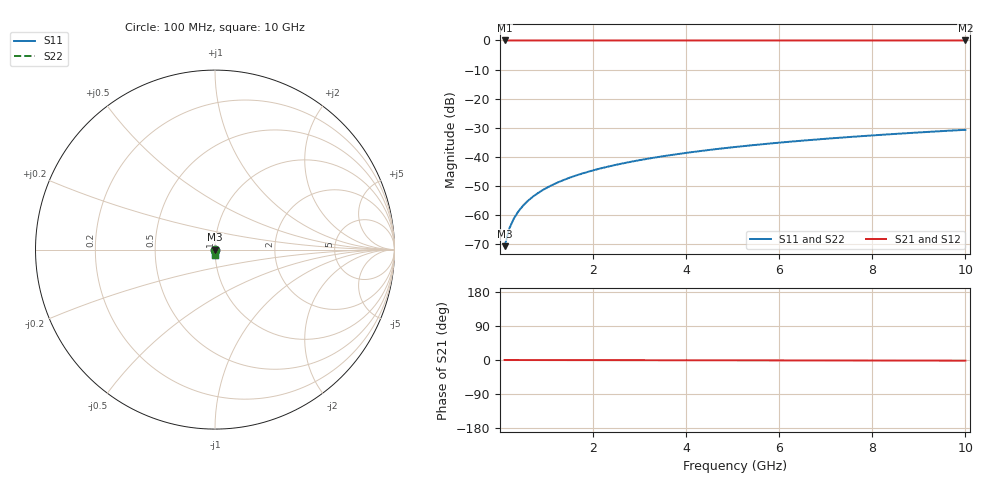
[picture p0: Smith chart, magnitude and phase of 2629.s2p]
# Hz S RI R 50.00
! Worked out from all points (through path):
!   100 points, 100 MHz to 10 GHz, reference 50 ohm
!   highest |S21| = 0.00 dB at 100 MHz (marker M1); lowest = 0.0 dB at 10 GHz (marker M2)
!   lowest |S11| = -70.6 dB at 100 MHz (marker M3), VSWR 1.00, Z = 50 - j0.0294 ohm
!   |S11| at or under -10 dB: start of sweep to end of sweep
!   |S22| runs from -70.6 to -30.7 dB; largest |S21 - S12| = 0
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1e8  -1.25e-07 -0.000294  1 -0.000299  1 -0.000299  -1.25e-07 -0.000294
2e8  -6.76e-07 -0.000588  1 -0.000598  1 -0.000598  -6.76e-07 -0.000588
3e8  -1.4e-06 -0.000882  1 -0.000896  1 -0.000896  -1.4e-06 -0.000882
4e8  -2.31e-06 -0.00118  1 -0.0012  1 -0.0012  -2.31e-06 -0.00118
5e8  -3.39e-06 -0.00147  1 -0.00149  1 -0.00149  -3.39e-06 -0.00147
6e8  -4.65e-06 -0.00176  1 -0.00179  1 -0.00179  -4.65e-06 -0.00176
7e8  -6.08e-06 -0.00206  1 -0.00209  1 -0.00209  -6.08e-06 -0.00206
8e8  -7.69e-06 -0.00235  1 -0.00239  1 -0.00239  -7.69e-06 -0.00235
9e8  -9.47e-06 -0.00264  1 -0.00269  1 -0.00269  -9.47e-06 -0.00264
1.1e9  -1.36e-05 -0.00323  1 -0.00329  1 -0.00329  -1.36e-05 -0.00323
1.4e9  -2.1e-05 -0.00411  1 -0.00418  1 -0.00418  -2.1e-05 -0.00411
1.8e9  -3.34e-05 -0.00529  1 -0.00538  1 -0.00538  -3.34e-05 -0.00529
2.1e9  -4.45e-05 -0.00617  1 -0.00627  1 -0.00627  -4.45e-05 -0.00617
2.5e9  -6.18e-05 -0.00734  0.9999 -0.00747  0.9999 -0.00747  -6.18e-05 -0.00734
2.9e9  -8.19e-05 -0.00851  0.9999 -0.00866  0.9999 -0.00866  -8.19e-05 -0.00851
3.4e9  -0.000111 -0.00998  0.9999 -0.0101  0.9999 -0.0101  -0.000111 -0.00998
4.2e9  -0.000166 -0.0123  0.9998 -0.0125  0.9998 -0.0125  -0.000166 -0.0123
5.1e9  -0.000242 -0.015  0.9998 -0.0152  0.9998 -0.0152  -0.000242 -0.015
5.9e9  -0.000321 -0.0173  0.9997 -0.0176  0.9997 -0.0176  -0.000321 -0.0173
6.7e9  -0.000411 -0.0196  0.9996 -0.02  0.9996 -0.02  -0.000411 -0.0196
8.4e9  -0.000639 -0.0246  0.9994 -0.025  0.9994 -0.025  -0.000639 -0.0246
1e10  -0.000899 -0.0292  0.9991 -0.0297  0.9991 -0.0297  -0.000899 -0.0292
